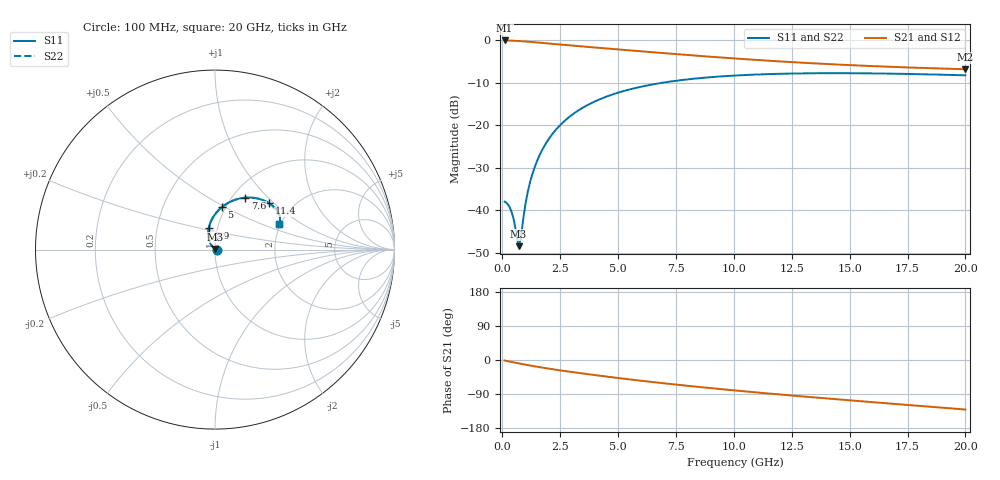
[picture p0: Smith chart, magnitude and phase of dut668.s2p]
! Touchstone file exported from HFSS 2024.1.0
!  File:  C:/UserFiles/LocalFiles/RDL_TSV_Batchsim/temp_RDL_TSV_668_1779813667.aedt
!  Generated:  12:54:36 AM May 27, 2026
!  Design:  RDL_TSV
!  Project:  temp_RDL_TSV_668_1779813667
!  Setup:  Setup1
!  Solution:  Sweep
! Variables:
!  dtsv = 13.65um
!  hbump = 3um
!  htsv = 53.14um
!  ldown = 231.38um
!  lrdl = 258.8um
!  p = 40
!  p1 = 54.75um
!  rhole = 10um
!  subl = 1729.34um
!  t = 450um
!  tdown = 2.67um
!  trdl = 3.81um
!  viad = 10um
!  wdown = 25.09um
!  wrdl = 10.78um
!  xbump = 18um
# GHz S MA R 50.000000
! Terminal data exported
! Port[1] = TM1_1_T1
! Port[2] = TM1_4_T1
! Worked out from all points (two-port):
!   200 points, 100 MHz to 20 GHz, reference 50 ohm
!   highest |S21| = -0.12 dB at 100 MHz (marker M1); lowest = -6.9 dB at 20 GHz (marker M2)
!   |S21| within 3 dB of the highest: start of sweep to 7.031 GHz
!   lowest |S11| = -48.4 dB at 700 MHz (marker M3), VSWR 1.01, Z = 50.2 + j0.296 ohm
!   |S11| at or under -10 dB: start of sweep to 6.965 GHz
!   |S22| runs from -48.4 to -7.8 dB; largest |S21 - S12| = 1.2e-14
!   S11 on the Smith chart (normalised r, x): 100 MHz: 1.03, +0.00; 2.9 GHz: 0.91, +0.22; 5 GHz: 0.96, +0.48; 7.6 GHz: 1.14, +0.75; 11.4 GHz: 1.52, +0.93; 20 GHz: 1.96, +0.67
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0.1  0.0127 0.5  0.9867 -1.3  0.9867 -1.3  0.0127 0.5
! Gamma 0 0 0 0
! Port Impedance 50 0 50 0
0.3  0.01115 1.5  0.9838 -3.9  0.9838 -3.9  0.01115 1.5
0.4  0.009646 3.0  0.9815 -5.1  0.9815 -5.1  0.009645 3.0
0.5  0.007693 7.2  0.9788 -6.4  0.9788 -6.4  0.007691 7.2
0.7  0.003803 50.8  0.9721 -8.8  0.9721 -8.8  0.003804 50.9
0.8  0.004647 98.3  0.9682 -10.0  0.9682 -10.0  0.004654 98.3
0.9  0.007802 120.3  0.9641 -11.2  0.9641 -11.2  0.007812 120.3
1.1  0.01649 130.7  0.955 -13.5  0.955 -13.5  0.0165 130.7
1.3  0.0267 130.9  0.9453 -15.7  0.9453 -15.7  0.02671 130.9
1.5  0.03789 128.7  0.9352 -17.8  0.9352 -17.8  0.03791 128.6
1.8  0.05588 123.9  0.9196 -20.8  0.9196 -20.8  0.0559 123.9
2.1  0.07468 118.8  0.9041 -23.7  0.9041 -23.7  0.07471 118.8
2.9  0.1254 106.0  0.8647 -30.8  0.8647 -30.8  0.1254 105.9
3.5  0.1617 97.6  0.8373 -35.8  0.8373 -35.8  0.1617 97.6
5  0.2407 80.6  0.7744 -47.5  0.7744 -47.5  0.2407 80.6
6.8  0.311 65.4  0.7067 -60.3  0.7067 -60.3  0.311 65.4
7.6  0.3345 59.9  0.6792 -65.5  0.6792 -65.5  0.3345 59.9
10.1  0.3831 46.2  0.6048 -80.7  0.6048 -80.7  0.3831 46.2
11.4  0.3968 40.7  0.5731 -87.9  0.5731 -87.9  0.3967 40.6
13.4  0.4067 33.8  0.5327 -98.4  0.5327 -98.4  0.4066 33.8
16.7  0.4027 26.1  0.4847 -114.7  0.4847 -114.7  0.4028 26.1
20  0.3848 22.2  0.4536 -130.7  0.4536 -130.7  0.3849 22.2
